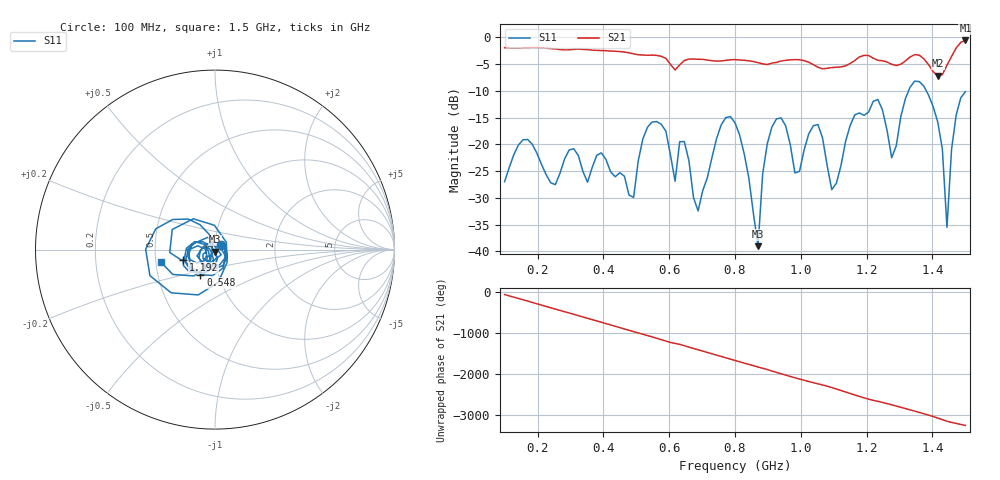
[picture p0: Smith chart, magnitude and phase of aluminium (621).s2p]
! NanoVNA-App
! Date: 2025-09-25 15:00:07
! Start: 100MHz Stop: 1,5GHz Points: 101
! S-Parameter data: F S11 S21 S12 S22
# Hz S RI R 50
!  Frequency  S11_Real  S11_Imag  S21_Real  S21_Imag  S12_Real  S12_Imag  S22_Real  S22_Imag
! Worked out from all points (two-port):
!   101 points, 100 MHz to 1.5 GHz, reference 50 ohm
!   highest |S21| = -0.57 dB at 1.5 GHz (marker M1); lowest = -7.2 dB at 1.416 GHz (marker M2)
!   |S21| within 3 dB of the highest: start of sweep to 577.5 MHz; 1.458 GHz to end of sweep (the widest 2 of 4)
!   lowest |S11| = -39.0 dB at 870 MHz (marker M3), VSWR 1.02, Z = 50.1 - j1.12 ohm
!   |S11| at or under -10 dB: start of sweep to 1.327 GHz; 1.381 GHz to end of sweep
!   S12 and S22 are empty: the file has one direction only
!   S11 on the Smith chart (normalised r, x): 100 MHz: 1.07, +0.06; 548 MHz: 0.82, -0.24; 1.192 GHz: 0.69, -0.08; 1.5 GHz: 0.53, -0.08
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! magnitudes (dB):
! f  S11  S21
! 100 MHz  -27.0  -1.9
! 156 MHz  -19.1  -2.0
! 338 MHz  -25.1  -2.2
! 492 MHz  -29.9  -3.1
! 548 MHz  -15.8  -3.3
! 576 MHz  -16.2  -3.5
! 646 MHz  -19.5  -4.3
! 688 MHz  -32.4  -4.1
! 800 MHz  -16.0  -4.2
! 870 MHz  -39.0  -4.7
! 912 MHz  -16.8  -4.8
! 982 MHz  -25.3  -4.1
! 1.038 GHz  -16.5  -5.1
! 1.094 GHz  -28.4  -5.6
! 1.192 GHz  -14.6  -3.3
! 1.234 GHz  -11.6  -4.3
! 1.276 GHz  -22.5  -5.0
! 1.346 GHz  -8.2  -3.2
! 1.416 GHz  -15.8  -7.2
! 1.444 GHz  -35.5  -5.2
! 1.472 GHz  -14.5  -2.0
! 1.5 GHz  -10.1  -0.6
